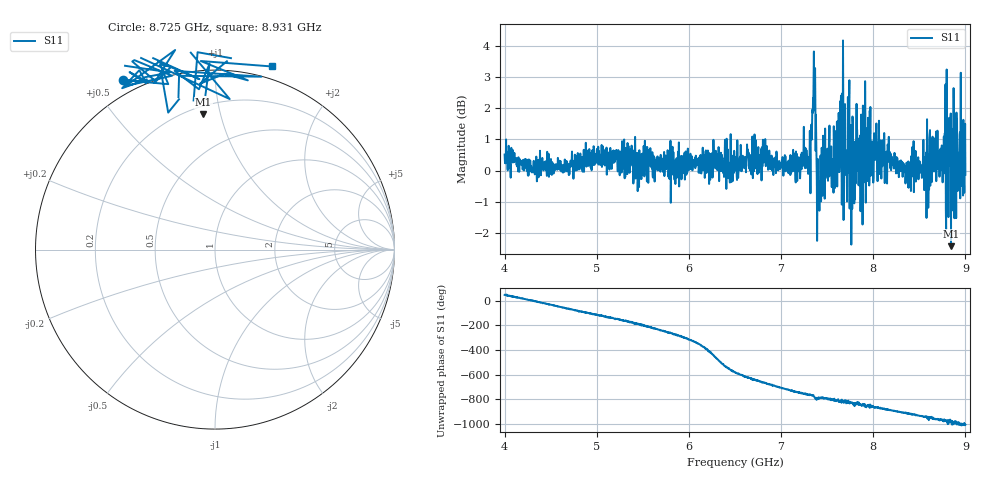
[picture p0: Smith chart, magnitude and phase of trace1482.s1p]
! Created with skrf 1.8.0 (http://scikit-rf.org).
# Hz S RI R 50.0
!freq ReS11 ImS11
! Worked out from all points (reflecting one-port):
!   1601 points, 4 GHz to 9 GHz, reference 50 ohm
!   lowest |S11| = -2.4 dB at 8.844 GHz (marker M1), VSWR 7.24, Z = 12.5 + j44.3 ohm
!   phase of S11 starts at 46 deg and turns -1052 deg over the sweep
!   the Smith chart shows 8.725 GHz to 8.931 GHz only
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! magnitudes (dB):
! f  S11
! 4 GHz  0.5
! 4.625 GHz  0.1
! 5.25 GHz  -0.1
! 5.875 GHz  0.4
! 6.5 GHz  0.0
! 7.125 GHz  0.3
! 7.294 GHz  -0.1
! 7.353 GHz  3.0
! 7.412 GHz  -0.7
! 7.481 GHz  -0.2
! 7.575 GHz  0.7
! 7.65 GHz  2.4
! 7.703 GHz  0.3
! 7.716 GHz  -1.0
! 7.75 GHz  -1.1
! 7.769 GHz  -0.2
! 7.834 GHz  1.0
! 8.038 GHz  0.8
! 8.375 GHz  0.0
! 8.438 GHz  0.9
! 8.581 GHz  0.3
! 8.656 GHz  1.0
! 8.766 GHz  1.1
! 8.822 GHz  1.2
! 8.844 GHz  -2.4
! 8.869 GHz  -1.3
! 8.956 GHz  0.7
! 9 GHz  -0.1
